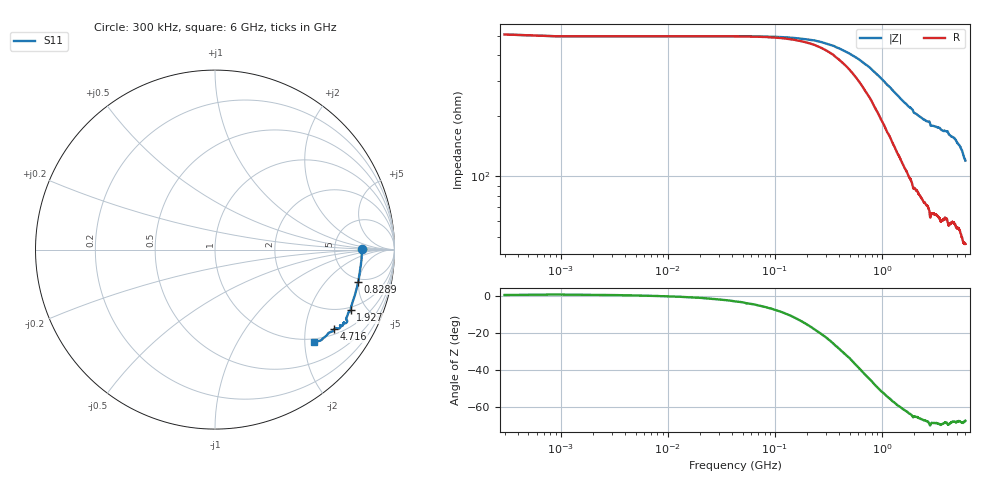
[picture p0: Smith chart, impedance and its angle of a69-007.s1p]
!  3/12/2021  09:53:49
! Ref Plane: 23.990 mm
# MHZ S MA R  50
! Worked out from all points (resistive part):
!   10001 points, 300 kHz to 6 GHz, reference 50 ohm
!   read as one part to ground: R = 499 ohm at 30.3 MHz
!   S11 on the Smith chart (normalised r, x): 300 kHz: 10, +0; 828.9 MHz: 4.56, -4.91; 1.927 GHz: 1.81, -3.89; 4.716 GHz: 1.17, -2.87; 6 GHz: 0.92, -2.21
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0.3  0.8211 0.1
393.2804  0.8168 -6.3
750.2625  0.8177 -11.5
828.8586  0.8175 -12.6
1105.445  0.8187 -16.2
1500.225  0.82 -20.5
1927.404  0.828 -24.1
2007.8  0.8223 -24.9
2250.188  0.8237 -26.2
2566.972  0.8256 -27.7
2742.163  0.832 -28.2
2788.961  0.8382 -28.5
2833.958  0.8333 -29.5
2876.556  0.8272 -29.5
3000.15  0.8255 -29.5
3462.127  0.8272 -30.3
3545.523  0.8274 -30.9
3750.113  0.8182 -31.3
4020.699  0.8155 -31.3
4109.494  0.8215 -31.6
4196.49  0.8184 -32.5
4500.075  0.8036 -33.2
4716.064  0.7997 -33.7
4983.051  0.7947 -35.2
5250.038  0.7854 -36.4
5578.221  0.7814 -38.7
5770.212  0.773 -41.1
6000  0.7554 -43.0
